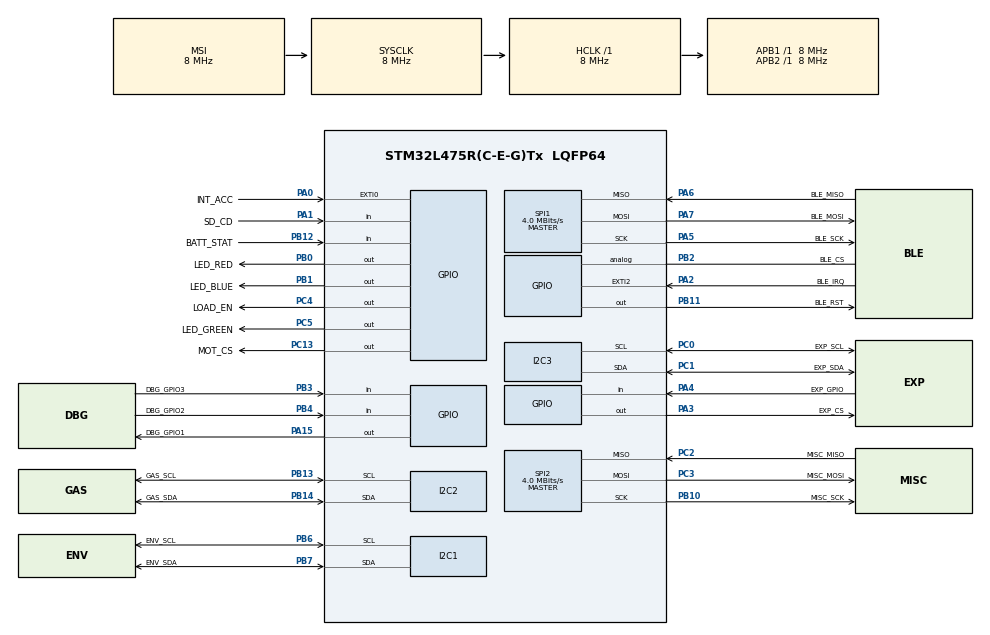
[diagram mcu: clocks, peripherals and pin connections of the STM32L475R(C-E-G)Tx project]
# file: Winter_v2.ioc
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I2C1.Timing=0x2000090E
I2C2.Timing=0x2000090E
I2C3.Timing=0x2000090E
Mcu.Family=STM32L4
Mcu.Name=STM32L475R(C-E-G)Tx
Mcu.Package=LQFP64
NVIC.EXTI0_IRQn=true\:3\:0\:true\:false\:true\:true\:true
NVIC.EXTI2_IRQn=true\:3\:0\:true\:false\:true\:true\:true
NVIC.PriorityGroup=NVIC_PRIORITYGROUP_4
NVIC.RTC_WKUP_IRQn=true\:0\:0\:false\:false\:true\:true\:true
PA0.GPIO_Label=INT_ACC
PA0.Signal=GPXTI0
PA1.GPIO_Label=SD_CD
PA1.GPIO_PuPd=GPIO_PULLUP
PA1.Signal=GPIO_Input
PA13\ (JTMS-SWDIO).Mode=Serial_Wire
PA13\ (JTMS-SWDIO).Signal=SYS_JTMS-SWDIO
PA14\ (JTCK-SWCLK).Mode=Serial_Wire
PA14\ (JTCK-SWCLK).Signal=SYS_JTCK-SWCLK
PA15\ (JTDI).GPIO_Label=DBG_GPIO1
PA15\ (JTDI).Signal=GPIO_Output
PA2.GPIO_Label=BLE_IRQ
PA2.GPIO_PuPd=GPIO_NOPULL
PA2.Signal=GPXTI2
PA3.GPIO_Label=EXP_CS
PA3.GPIO_PuPd=GPIO_PULLUP
PA3.PinState=GPIO_PIN_SET
PA3.Signal=GPIO_Output
PA4.GPIO_Label=EXP_GPIO
PA4.Signal=GPIO_Input
PA5.GPIO_Label=BLE_SCK
PA5.Mode=Full_Duplex_Master
PA5.Signal=SPI1_SCK
PA6.GPIO_Label=BLE_MISO
PA6.Mode=Full_Duplex_Master
PA6.Signal=SPI1_MISO
PA7.GPIO_Label=BLE_MOSI
PA7.Mode=Full_Duplex_Master
PA7.Signal=SPI1_MOSI
PB0.GPIO_Label=LED_RED
PB0.Signal=GPIO_Output
PB1.GPIO_Label=LED_BLUE
PB1.Signal=GPIO_Output
PB10.GPIO_Label=MISC_SCK
PB10.Mode=Full_Duplex_Master
PB10.Signal=SPI2_SCK
PB11.GPIO_Label=BLE_RST
PB11.PinState=GPIO_PIN_RESET
PB11.Signal=GPIO_Output
PB12.GPIO_Label=BATT_STAT
PB12.Signal=GPIO_Input
PB13.GPIO_Label=GAS_SCL
PB13.Mode=I2C
PB13.Signal=I2C2_SCL
PB14.GPIO_Label=GAS_SDA
PB14.Mode=I2C
PB14.Signal=I2C2_SDA
PB2.GPIO_Label=BLE_CS
PB2.Signal=GPIO_Analog
PB3\ (JTDO-TRACESWO).GPIO_Label=DBG_GPIO3
PB3\ (JTDO-TRACESWO).Signal=GPIO_Input
PB4\ (NJTRST).GPIO_Label=DBG_GPIO2
PB4\ (NJTRST).Signal=GPIO_Input
PB6.GPIO_Label=ENV_SCL
PB6.Mode=I2C
PB6.Signal=I2C1_SCL
PB7.GPIO_Label=ENV_SDA
PB7.Mode=I2C
PB7.Signal=I2C1_SDA
PC0.GPIO_Label=EXP_SCL
PC0.Mode=I2C
PC0.Signal=I2C3_SCL
PC1.GPIO_Label=EXP_SDA
PC1.Mode=I2C
PC1.Signal=I2C3_SDA
PC13.GPIO_Label=MOT_CS
PC13.GPIO_PuPd=GPIO_PULLUP
PC13.PinState=GPIO_PIN_SET
PC13.Signal=GPIO_Output
PC14-OSC32_IN\ (PC14).Mode=LSE-External-Oscillator
PC14-OSC32_IN\ (PC14).Signal=RCC_OSC32_IN
PC15-OSC32_OUT\ (PC15).Mode=LSE-External-Oscillator
PC15-OSC32_OUT\ (PC15).Signal=RCC_OSC32_OUT
PC2.GPIO_Label=MISC_MISO
PC2.Mode=Full_Duplex_Master
PC2.Signal=SPI2_MISO
PC3.GPIO_Label=MISC_MOSI
PC3.Mode=Full_Duplex_Master
PC3.Signal=SPI2_MOSI
PC4.GPIO_Label=LOAD_EN
PC4.Signal=GPIO_Output
PC5.GPIO_Label=LED_GREEN
PC5.Signal=GPIO_Output
ProjectManager.HeapSize=0x200
ProjectManager.StackSize=0x400
ProjectManager.TargetToolchain=STM32CubeIDE
RCC.ADCFreq_Value=96000000
RCC.AHBFreq_Value=8000000
RCC.APB1Freq_Value=8000000
RCC.APB1TimFreq_Value=8000000
RCC.APB2Freq_Value=8000000
RCC.APB2TimFreq_Value=8000000
RCC.CK48CLockSelection=RCC_USBCLKSOURCE_MSI
RCC.CortexFreq_Value=8000000
RCC.HCLKFreq_Value=8000000
RCC.HSE_VALUE=8000000
RCC.HSI_VALUE=16000000
RCC.I2C1CLockSelection=RCC_I2C1CLKSOURCE_SYSCLK
RCC.I2C2CLockSelection=RCC_I2C2CLKSOURCE_SYSCLK
RCC.I2C3CLockSelection=RCC_I2C3CLKSOURCE_SYSCLK
RCC.LPTIM1CLockSelection=RCC_LPTIM1CLKSOURCE_LSE
RCC.MSIClockRange=RCC_MSIRANGE_7
RCC.MSI_VALUE=8000000
RCC.PLLSAI1N=24
RCC.RTCClockSelection=RCC_RTCCLKSOURCE_LSE
RCC.SYSCLKFreq_VALUE=8000000
RCC.USART1CLockSelection=RCC_USART1CLKSOURCE_HSI
RCC.USBFreq_Value=8000000
RCC.VCOOutputFreq_Value=64000000
RTC.WakeUpClock-WakeUp=RTC_WAKEUPCLOCK_CK_SPRE_16BITS
RTC.WakeUpCounter-WakeUp=120
RTC.Year=0
SPI1.BaudRatePrescaler=SPI_BAUDRATEPRESCALER_2
SPI1.CLKPolarity=SPI_POLARITY_LOW
SPI1.CalculateBaudRate=4.0 MBits/s
SPI1.DataSize=SPI_DATASIZE_8BIT
SPI1.Direction=SPI_DIRECTION_2LINES
SPI1.Mode=SPI_MODE_MASTER
SPI1.VirtualType=VM_MASTER
SPI2.CalculateBaudRate=4.0 MBits/s
SPI2.DataSize=SPI_DATASIZE_8BIT
SPI2.Direction=SPI_DIRECTION_2LINES
SPI2.Mode=SPI_MODE_MASTER
SPI2.VirtualType=VM_MASTER
VP_RTC_VS_RTC_Activate.Mode=RTC_Enabled
VP_RTC_VS_RTC_Calendar.Mode=RTC_Calendar
VP_RTC_VS_RTC_WakeUp_intern.Mode=WakeUp
board=custom

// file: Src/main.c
/* USER CODE BEGIN Header */
/**
 ******************************************************************************
 * @file           : main.c
 * @brief          : Main program body
 ******************************************************************************
 * @attention
 *
 * <h2><center>&copy; Copyright (c) 2020 STMicroelectronics.
 * All rights reserved.</center></h2>
 *
 * This software component is licensed by ST under BSD 3-Clause license,
 * the "License"; You may not use this file except in compliance with the
 * License. You may obtain a copy of the License at:
 *                        opensource.org/licenses/BSD-3-Clause
 *
 ******************************************************************************
 */
/* USER CODE END Header */

#include "main.h"

/* USER CODE BEGIN Includes */
#include "app.h"
/* USER CODE END Includes */

I2C_HandleTypeDef hi2c1;
I2C_HandleTypeDef hi2c2;
I2C_HandleTypeDef hi2c3;

RTC_HandleTypeDef hrtc;

SPI_HandleTypeDef hspi1;
SPI_HandleTypeDef hspi2;

void SystemClock_Config(void);
static void MX_GPIO_Init(void);
static void MX_I2C1_Init(void);
static void MX_I2C2_Init(void);
static void MX_I2C3_Init(void);
static void MX_SPI1_Init(void);
static void MX_SPI2_Init(void);
static void MX_RTC_Init(void);

/* USER CODE BEGIN 0 */
extern volatile Winter_t winter;
/* USER CODE END 0 */

int main(void)
{

  /* MCU Configuration--------------------------------------------------------*/

  /* Reset of all peripherals, Initializes the Flash interface and the Systick. */
  HAL_Init();

  /* Configure the system clock */
  SystemClock_Config();

  /* Initialize all configured peripherals */
  MX_GPIO_Init();
  MX_I2C1_Init();
  MX_I2C2_Init();
  MX_I2C3_Init();
  MX_SPI1_Init();
  MX_SPI2_Init();
  MX_RTC_Init();
  /* USER CODE BEGIN 2 */
	App_InitSystem();
  /* USER CODE END 2 */

  /* Infinite loop */
	while (1) {

    /* USER CODE BEGIN 3 */
		if (App_GetSystemState() == SYSTEM_STATE_SLEEP) {
			Enter_Stop2_Mode();
			Exit_Stop2_Mode();
		}
	}
  /* USER CODE END 3 */
}

void SystemClock_Config(void)
{
  RCC_OscInitTypeDef RCC_OscInitStruct = {0};
  RCC_ClkInitTypeDef RCC_ClkInitStruct = {0};
  RCC_PeriphCLKInitTypeDef PeriphClkInit = {0};

  /** Configure LSE Drive Capability
  */
  HAL_PWR_EnableBkUpAccess();
  __HAL_RCC_LSEDRIVE_CONFIG(RCC_LSEDRIVE_LOW);
  /** Initializes the CPU, AHB and APB busses clocks
  */
  RCC_OscInitStruct.OscillatorType = RCC_OSCILLATORTYPE_LSE|RCC_OSCILLATORTYPE_MSI;
  RCC_OscInitStruct.LSEState = RCC_LSE_ON;
  RCC_OscInitStruct.MSIState = RCC_MSI_ON;
  RCC_OscInitStruct.MSICalibrationValue = 0;
  RCC_OscInitStruct.MSIClockRange = RCC_MSIRANGE_7;
  RCC_OscInitStruct.PLL.PLLState = RCC_PLL_NONE;
  if (HAL_RCC_OscConfig(&RCC_OscInitStruct) != HAL_OK)
  {
    Error_Handler();
  }
  /** Initializes the CPU, AHB and APB busses clocks
  */
  RCC_ClkInitStruct.ClockType = RCC_CLOCKTYPE_HCLK|RCC_CLOCKTYPE_SYSCLK
                              |RCC_CLOCKTYPE_PCLK1|RCC_CLOCKTYPE_PCLK2;
  RCC_ClkInitStruct.SYSCLKSource = RCC_SYSCLKSOURCE_MSI;
  RCC_ClkInitStruct.AHBCLKDivider = RCC_SYSCLK_DIV1;
  RCC_ClkInitStruct.APB1CLKDivider = RCC_HCLK_DIV1;
  RCC_ClkInitStruct.APB2CLKDivider = RCC_HCLK_DIV1;

  if (HAL_RCC_ClockConfig(&RCC_ClkInitStruct, FLASH_LATENCY_0) != HAL_OK)
  {
    Error_Handler();
  }
  PeriphClkInit.PeriphClockSelection = RCC_PERIPHCLK_RTC|RCC_PERIPHCLK_I2C1
                              |RCC_PERIPHCLK_I2C2|RCC_PERIPHCLK_I2C3;
  PeriphClkInit.I2c1ClockSelection = RCC_I2C1CLKSOURCE_SYSCLK;
  PeriphClkInit.I2c2ClockSelection = RCC_I2C2CLKSOURCE_SYSCLK;
  PeriphClkInit.I2c3ClockSelection = RCC_I2C3CLKSOURCE_SYSCLK;
  PeriphClkInit.RTCClockSelection = RCC_RTCCLKSOURCE_LSE;
  if (HAL_RCCEx_PeriphCLKConfig(&PeriphClkInit) != HAL_OK)
  {
    Error_Handler();
  }
  /** Configure the main internal regulator output voltage
  */
  if (HAL_PWREx_ControlVoltageScaling(PWR_REGULATOR_VOLTAGE_SCALE1) != HAL_OK)
  {
    Error_Handler();
  }
  /** Enable MSI Auto calibration
  */
  HAL_RCCEx_EnableMSIPLLMode();
}

static void MX_I2C1_Init(void)
{

  hi2c1.Instance = I2C1;
  hi2c1.Init.Timing = 0x2000090E;
  hi2c1.Init.OwnAddress1 = 0;
  hi2c1.Init.AddressingMode = I2C_ADDRESSINGMODE_7BIT;
  hi2c1.Init.DualAddressMode = I2C_DUALADDRESS_DISABLE;
  hi2c1.Init.OwnAddress2 = 0;
  hi2c1.Init.OwnAddress2Masks = I2C_OA2_NOMASK;
  hi2c1.Init.GeneralCallMode = I2C_GENERALCALL_DISABLE;
  hi2c1.Init.NoStretchMode = I2C_NOSTRETCH_DISABLE;
  if (HAL_I2C_Init(&hi2c1) != HAL_OK)
  {
    Error_Handler();
  }
  /** Configure Analogue filter
  */
  if (HAL_I2CEx_ConfigAnalogFilter(&hi2c1, I2C_ANALOGFILTER_ENABLE) != HAL_OK)
  {
    Error_Handler();
  }
  /** Configure Digital filter
  */
  if (HAL_I2CEx_ConfigDigitalFilter(&hi2c1, 0) != HAL_OK)
  {
    Error_Handler();
  }

}

static void MX_I2C2_Init(void)
{

  hi2c2.Instance = I2C2;
  hi2c2.Init.Timing = 0x2000090E;
  hi2c2.Init.OwnAddress1 = 0;
  hi2c2.Init.AddressingMode = I2C_ADDRESSINGMODE_7BIT;
  hi2c2.Init.DualAddressMode = I2C_DUALADDRESS_DISABLE;
  hi2c2.Init.OwnAddress2 = 0;
  hi2c2.Init.OwnAddress2Masks = I2C_OA2_NOMASK;
  hi2c2.Init.GeneralCallMode = I2C_GENERALCALL_DISABLE;
  hi2c2.Init.NoStretchMode = I2C_NOSTRETCH_DISABLE;
  if (HAL_I2C_Init(&hi2c2) != HAL_OK)
  {
    Error_Handler();
  }
  /** Configure Analogue filter
  */
  if (HAL_I2CEx_ConfigAnalogFilter(&hi2c2, I2C_ANALOGFILTER_ENABLE) != HAL_OK)
  {
    Error_Handler();
  }
  /** Configure Digital filter
  */
  if (HAL_I2CEx_ConfigDigitalFilter(&hi2c2, 0) != HAL_OK)
  {
    Error_Handler();
  }

}

static void MX_I2C3_Init(void)
{

  hi2c3.Instance = I2C3;
  hi2c3.Init.Timing = 0x2000090E;
  hi2c3.Init.OwnAddress1 = 0;
  hi2c3.Init.AddressingMode = I2C_ADDRESSINGMODE_7BIT;
  hi2c3.Init.DualAddressMode = I2C_DUALADDRESS_DISABLE;
  hi2c3.Init.OwnAddress2 = 0;
  hi2c3.Init.OwnAddress2Masks = I2C_OA2_NOMASK;
  hi2c3.Init.GeneralCallMode = I2C_GENERALCALL_DISABLE;
  hi2c3.Init.NoStretchMode = I2C_NOSTRETCH_DISABLE;
  if (HAL_I2C_Init(&hi2c3) != HAL_OK)
  {
    Error_Handler();
  }
  /** Configure Analogue filter
  */
  if (HAL_I2CEx_ConfigAnalogFilter(&hi2c3, I2C_ANALOGFILTER_ENABLE) != HAL_OK)
  {
    Error_Handler();
  }
  /** Configure Digital filter
  */
  if (HAL_I2CEx_ConfigDigitalFilter(&hi2c3, 0) != HAL_OK)
  {
    Error_Handler();
  }

}

static void MX_RTC_Init(void)
{

  RTC_TimeTypeDef sTime = {0};
  RTC_DateTypeDef sDate = {0};

  /** Initialize RTC Only
  */
  hrtc.Instance = RTC;
  hrtc.Init.HourFormat = RTC_HOURFORMAT_24;
  hrtc.Init.AsynchPrediv = 127;
  hrtc.Init.SynchPrediv = 255;
  hrtc.Init.OutPut = RTC_OUTPUT_DISABLE;
  hrtc.Init.OutPutRemap = RTC_OUTPUT_REMAP_NONE;
  hrtc.Init.OutPutPolarity = RTC_OUTPUT_POLARITY_HIGH;
  hrtc.Init.OutPutType = RTC_OUTPUT_TYPE_OPENDRAIN;
  if (HAL_RTC_Init(&hrtc) != HAL_OK)
  {
    Error_Handler();
  }

  /** Initialize RTC and set the Time and Date
  */
  sTime.Hours = 0x0;
  sTime.Minutes = 0x0;
  sTime.Seconds = 0x0;
  sTime.DayLightSaving = RTC_DAYLIGHTSAVING_NONE;
  sTime.StoreOperation = RTC_STOREOPERATION_RESET;
  if (HAL_RTC_SetTime(&hrtc, &sTime, RTC_FORMAT_BCD) != HAL_OK)
  {
    Error_Handler();
  }
  sDate.WeekDay = RTC_WEEKDAY_MONDAY;
  sDate.Month = RTC_MONTH_JANUARY;
  sDate.Date = 0x1;
  sDate.Year = 0x0;

  if (HAL_RTC_SetDate(&hrtc, &sDate, RTC_FORMAT_BCD) != HAL_OK)
  {
    Error_Handler();
  }

}

static void MX_SPI1_Init(void)
{

  /* SPI1 parameter configuration*/
  hspi1.Instance = SPI1;
  hspi1.Init.Mode = SPI_MODE_MASTER;
  hspi1.Init.Direction = SPI_DIRECTION_2LINES;
  hspi1.Init.DataSize = SPI_DATASIZE_8BIT;
  hspi1.Init.CLKPolarity = SPI_POLARITY_LOW;
  hspi1.Init.CLKPhase = SPI_PHASE_1EDGE;
  hspi1.Init.NSS = SPI_NSS_SOFT;
  hspi1.Init.BaudRatePrescaler = SPI_BAUDRATEPRESCALER_2;
  hspi1.Init.FirstBit = SPI_FIRSTBIT_MSB;
  hspi1.Init.TIMode = SPI_TIMODE_DISABLE;
  hspi1.Init.CRCCalculation = SPI_CRCCALCULATION_DISABLE;
  hspi1.Init.CRCPolynomial = 7;
  hspi1.Init.CRCLength = SPI_CRC_LENGTH_DATASIZE;
  hspi1.Init.NSSPMode = SPI_NSS_PULSE_ENABLE;
  if (HAL_SPI_Init(&hspi1) != HAL_OK)
  {
    Error_Handler();
  }

}

static void MX_SPI2_Init(void)
{

  /* SPI2 parameter configuration*/
  hspi2.Instance = SPI2;
  hspi2.Init.Mode = SPI_MODE_MASTER;
  hspi2.Init.Direction = SPI_DIRECTION_2LINES;
  hspi2.Init.DataSize = SPI_DATASIZE_8BIT;
  hspi2.Init.CLKPolarity = SPI_POLARITY_LOW;
  hspi2.Init.CLKPhase = SPI_PHASE_1EDGE;
  hspi2.Init.NSS = SPI_NSS_SOFT;
  hspi2.Init.BaudRatePrescaler = SPI_BAUDRATEPRESCALER_2;
  hspi2.Init.FirstBit = SPI_FIRSTBIT_MSB;
  hspi2.Init.TIMode = SPI_TIMODE_DISABLE;
  hspi2.Init.CRCCalculation = SPI_CRCCALCULATION_DISABLE;
  hspi2.Init.CRCPolynomial = 7;
  hspi2.Init.CRCLength = SPI_CRC_LENGTH_DATASIZE;
  hspi2.Init.NSSPMode = SPI_NSS_PULSE_ENABLE;
  if (HAL_SPI_Init(&hspi2) != HAL_OK)
  {
    Error_Handler();
  }

}

static void MX_GPIO_Init(void)
{
  GPIO_InitTypeDef GPIO_InitStruct = {0};

  /* GPIO Ports Clock Enable */
  __HAL_RCC_GPIOC_CLK_ENABLE();
  __HAL_RCC_GPIOH_CLK_ENABLE();
  __HAL_RCC_GPIOA_CLK_ENABLE();
  __HAL_RCC_GPIOB_CLK_ENABLE();
  __HAL_RCC_GPIOD_CLK_ENABLE();

  /*Configure GPIO pin Output Level */
  HAL_GPIO_WritePin(MOT_CS_GPIO_Port, MOT_CS_Pin, GPIO_PIN_SET);

  /*Configure GPIO pin Output Level */
  HAL_GPIO_WritePin(EXP_CS_GPIO_Port, EXP_CS_Pin, GPIO_PIN_SET);

  /*Configure GPIO pin Output Level */
  HAL_GPIO_WritePin(GPIOC, LOAD_EN_Pin|LED_GREEN_Pin, GPIO_PIN_RESET);

  /*Configure GPIO pin Output Level */
  HAL_GPIO_WritePin(GPIOB, LED_RED_Pin|LED_BLUE_Pin|BLE_RST_Pin, GPIO_PIN_RESET);

  /*Configure GPIO pin Output Level */
  HAL_GPIO_WritePin(DBG_GPIO1_GPIO_Port, DBG_GPIO1_Pin, GPIO_PIN_RESET);

  /*Configure GPIO pin : MOT_CS_Pin */
  GPIO_InitStruct.Pin = MOT_CS_Pin;
  GPIO_InitStruct.Mode = GPIO_MODE_OUTPUT_PP;
  GPIO_InitStruct.Pull = GPIO_PULLUP;
  GPIO_InitStruct.Speed = GPIO_SPEED_FREQ_LOW;
  HAL_GPIO_Init(MOT_CS_GPIO_Port, &GPIO_InitStruct);

  /*Configure GPIO pins : PH0 PH1 */
  GPIO_InitStruct.Pin = GPIO_PIN_0|GPIO_PIN_1;
  GPIO_InitStruct.Mode = GPIO_MODE_ANALOG;
  GPIO_InitStruct.Pull = GPIO_NOPULL;
  HAL_GPIO_Init(GPIOH, &GPIO_InitStruct);

  /*Configure GPIO pins : INT_ACC_Pin BLE_IRQ_Pin */
  GPIO_InitStruct.Pin = INT_ACC_Pin|BLE_IRQ_Pin;
  GPIO_InitStruct.Mode = GPIO_MODE_IT_RISING;
  GPIO_InitStruct.Pull = GPIO_NOPULL;
  HAL_GPIO_Init(GPIOA, &GPIO_InitStruct);

  /*Configure GPIO pin : SD_CD_Pin */
  GPIO_InitStruct.Pin = SD_CD_Pin;
  GPIO_InitStruct.Mode = GPIO_MODE_INPUT;
  GPIO_InitStruct.Pull = GPIO_PULLUP;
  HAL_GPIO_Init(SD_CD_GPIO_Port, &GPIO_InitStruct);

  /*Configure GPIO pin : EXP_CS_Pin */
  GPIO_InitStruct.Pin = EXP_CS_Pin;
  GPIO_InitStruct.Mode = GPIO_MODE_OUTPUT_PP;
  GPIO_InitStruct.Pull = GPIO_PULLUP;
  GPIO_InitStruct.Speed = GPIO_SPEED_FREQ_LOW;
  HAL_GPIO_Init(EXP_CS_GPIO_Port, &GPIO_InitStruct);

  /*Configure GPIO pin : EXP_GPIO_Pin */
  GPIO_InitStruct.Pin = EXP_GPIO_Pin;
  GPIO_InitStruct.Mode = GPIO_MODE_INPUT;
  GPIO_InitStruct.Pull = GPIO_NOPULL;
  HAL_GPIO_Init(EXP_GPIO_GPIO_Port, &GPIO_InitStruct);

  /*Configure GPIO pins : LOAD_EN_Pin LED_GREEN_Pin */
  GPIO_InitStruct.Pin = LOAD_EN_Pin|LED_GREEN_Pin;
  GPIO_InitStruct.Mode = GPIO_MODE_OUTPUT_PP;
  GPIO_InitStruct.Pull = GPIO_NOPULL;
  GPIO_InitStruct.Speed = GPIO_SPEED_FREQ_LOW;
  HAL_GPIO_Init(GPIOC, &GPIO_InitStruct);

  /*Configure GPIO pins : LED_RED_Pin LED_BLUE_Pin BLE_RST_Pin */
  GPIO_InitStruct.Pin = LED_RED_Pin|LED_BLUE_Pin|BLE_RST_Pin;
  GPIO_InitStruct.Mode = GPIO_MODE_OUTPUT_PP;
  GPIO_InitStruct.Pull = GPIO_NOPULL;
  GPIO_InitStruct.Speed = GPIO_SPEED_FREQ_LOW;
  HAL_GPIO_Init(GPIOB, &GPIO_InitStruct);

  /*Configure GPIO pins : BLE_CS_Pin PB15 PB5 PB8
                           PB9 */
  GPIO_InitStruct.Pin = BLE_CS_Pin|GPIO_PIN_15|GPIO_PIN_5|GPIO_PIN_8
                          |GPIO_PIN_9;
  GPIO_InitStruct.Mode = GPIO_MODE_ANALOG;
  GPIO_InitStruct.Pull = GPIO_NOPULL;
  HAL_GPIO_Init(GPIOB, &GPIO_InitStruct);

  /*Configure GPIO pins : BATT_STAT_Pin DBG_GPIO3_Pin DBG_GPIO2_Pin */
  GPIO_InitStruct.Pin = BATT_STAT_Pin|DBG_GPIO3_Pin|DBG_GPIO2_Pin;
  GPIO_InitStruct.Mode = GPIO_MODE_INPUT;
  GPIO_InitStruct.Pull = GPIO_NOPULL;
  HAL_GPIO_Init(GPIOB, &GPIO_InitStruct);

  /*Configure GPIO pins : PC6 PC7 PC8 PC9
                           PC10 PC11 PC12 */
  GPIO_InitStruct.Pin = GPIO_PIN_6|GPIO_PIN_7|GPIO_PIN_8|GPIO_PIN_9
                          |GPIO_PIN_10|GPIO_PIN_11|GPIO_PIN_12;
  GPIO_InitStruct.Mode = GPIO_MODE_ANALOG;
  GPIO_InitStruct.Pull = GPIO_NOPULL;
  HAL_GPIO_Init(GPIOC, &GPIO_InitStruct);

  /*Configure GPIO pins : PA8 PA9 PA10 PA11
                           PA12 */
  GPIO_InitStruct.Pin = GPIO_PIN_8|GPIO_PIN_9|GPIO_PIN_10|GPIO_PIN_11
                          |GPIO_PIN_12;
  GPIO_InitStruct.Mode = GPIO_MODE_ANALOG;
  GPIO_InitStruct.Pull = GPIO_NOPULL;
  HAL_GPIO_Init(GPIOA, &GPIO_InitStruct);

  /*Configure GPIO pin : DBG_GPIO1_Pin */
  GPIO_InitStruct.Pin = DBG_GPIO1_Pin;
  GPIO_InitStruct.Mode = GPIO_MODE_OUTPUT_PP;
  GPIO_InitStruct.Pull = GPIO_NOPULL;
  GPIO_InitStruct.Speed = GPIO_SPEED_FREQ_LOW;
  HAL_GPIO_Init(DBG_GPIO1_GPIO_Port, &GPIO_InitStruct);

  /*Configure GPIO pin : PD2 */
  GPIO_InitStruct.Pin = GPIO_PIN_2;
  GPIO_InitStruct.Mode = GPIO_MODE_ANALOG;
  GPIO_InitStruct.Pull = GPIO_NOPULL;
  HAL_GPIO_Init(GPIOD, &GPIO_InitStruct);

  /* EXTI interrupt init*/
  HAL_NVIC_SetPriority(EXTI0_IRQn, 3, 0);
  HAL_NVIC_EnableIRQ(EXTI0_IRQn);

  HAL_NVIC_SetPriority(EXTI2_IRQn, 3, 0);
  HAL_NVIC_EnableIRQ(EXTI2_IRQn);

}

/* USER CODE BEGIN 4 */
/**
 * @brief  Write an amount of data in the specified device and register, in
 * 		   blocking mode.
 * @param  i2c        I2C_e enumeration value.
 * @param  DevAddress Target device address.
 * @param  pData 	  Pointer to data buffer.
 * @param  Size 	  Amount of data to be sent.
 * @return HAL status.
 */
uint8_t I2C_Write(I2C_e i2c, uint8_t DevAddress, uint8_t* pData, uint8_t Size) {
	HAL_StatusTypeDef res = HAL_OK;

	switch (i2c) {
		case I2C_ENV:
			res |= HAL_I2C_Master_Transmit(&hi2c1, DevAddress, pData, Size,
					100);
			break;
		case I2C_GAS:
			res |= HAL_I2C_Master_Transmit(&hi2c2, DevAddress, pData, Size,
					100);
			break;
		case I2C_EXP:
			res |= HAL_I2C_Master_Transmit(&hi2c3, DevAddress, pData, Size,
					100);
			break;
		default:
			break;
	}

	return res;
}

/**
 * @brief  Read an amount of data from the specified device and register, in
 * 		   blocking mode.
 * @param  i2c        I2C_e enumeration value.
 * @param  DevAddress Target device address.
 * @param  RegAddress Target register address.
 * @param  pData 	  Pointer to data buffer.
 * @param  Size 	  Amount of data to be sent.
 * @return HAL status.
 */
uint8_t I2C_Read(I2C_e i2c, uint8_t DevAddress, uint8_t RegAddress,
		uint8_t* pData, uint16_t Size) {
	HAL_StatusTypeDef res = HAL_OK;

	switch (i2c) {
		case I2C_ENV:
			res |= HAL_I2C_Master_Transmit(&hi2c1, DevAddress, &RegAddress, 1,
					100);
			if (res == HAL_OK)
				res |= HAL_I2C_Master_Receive(&hi2c1, DevAddress, pData, Size,
						100);
			break;
		case I2C_GAS:
			res |= HAL_I2C_Master_Transmit(&hi2c2, DevAddress, &RegAddress, 1,
					100);
			if (res == HAL_OK)
				res |= HAL_I2C_Master_Receive(&hi2c2, DevAddress, pData, Size,
						100);
			break;
		case I2C_EXP:
			res |= HAL_I2C_Master_Transmit(&hi2c3, DevAddress, &RegAddress, 1,
					100);
			if (res == HAL_OK)
				res |= HAL_I2C_Master_Receive(&hi2c3, DevAddress, pData, Size,
						100);
			break;
		default:
			res = HAL_ERROR;
			break;
	}

	return res;
}

/**
 * @brief  Write an amount of data in the specified device, in blocking mode.
 * @param  spi   SPI_e enumeration value.
 * @param  pData Pointer to data buffer.
 * @param  Size  Amount of data to be sent.
 * @return HAL status.
 */
uint8_t SPI_Write(SPI_e spi, uint8_t* pData, uint16_t Size) {
	HAL_StatusTypeDef res = HAL_OK;

	switch (spi) {
		case SPI_BLE:
			break;
		case SPI_MOTION:
			HAL_GPIO_WritePin(MOT_CS_GPIO_Port, MOT_CS_Pin, GPIO_PIN_RESET);
			res |= HAL_SPI_Transmit(&hspi2, pData, Size, 100);
			HAL_GPIO_WritePin(MOT_CS_GPIO_Port, MOT_CS_Pin, GPIO_PIN_SET);
			break;
		case SPI_EXP:
			HAL_GPIO_WritePin(EXP_CS_GPIO_Port, EXP_CS_Pin, GPIO_PIN_RESET);
			res |= HAL_SPI_Transmit(&hspi2, pData, Size, 100);
			HAL_GPIO_WritePin(EXP_CS_GPIO_Port, EXP_CS_Pin, GPIO_PIN_SET);
		default:
			res = HAL_ERROR;
			break;
	}

	return res;
}

/**
 * @brief  Read an amount of data in the specified device, in blocking mode.
 * @param  spi        SPI_e enumeration value.
 * @param  RegAddress Target register address.
 * @param  pData      Pointer to data buffer.
 * @param  Size       Amount of data to be sent.
 * @return HAL status.
 */
uint8_t SPI_Read(SPI_e spi, uint8_t RegAddress, uint8_t* pData, uint16_t Size) {
	HAL_StatusTypeDef res = HAL_OK;

	switch (spi) {
		case SPI_BLE:
			break;
		case SPI_MOTION:
			HAL_GPIO_WritePin(MOT_CS_GPIO_Port, MOT_CS_Pin, GPIO_PIN_RESET);
			pData[0] = 0;
			res |= HAL_SPI_Transmit(&hspi2, &RegAddress, 1, 100);
			res |= HAL_SPI_Receive(&hspi2, pData, Size, 100);
			HAL_GPIO_WritePin(MOT_CS_GPIO_Port, MOT_CS_Pin, GPIO_PIN_SET);
			break;
		case SPI_EXP:
			HAL_GPIO_WritePin(EXP_CS_GPIO_Port, EXP_CS_Pin, GPIO_PIN_RESET);
			res |= HAL_SPI_Transmit(&hspi2, &RegAddress, 1, 100);
			res |= HAL_SPI_Receive(&hspi2, pData, Size, 100);
			HAL_GPIO_WritePin(EXP_CS_GPIO_Port, EXP_CS_Pin, GPIO_PIN_SET);
			break;
		default:
			res = HAL_ERROR;
			break;
	}

	return res;
}

void Enable_LPR_Mode(void) {

	/* *** Low-power run mode ***
	 * ==========================
	 *    [..]
	 *       (+) Entry: (from main run mode)
	 *          (++) set LPR bit with HAL_PWREx_EnableLowPowerRunMode() API
	 *               after having decreased the system clock below 2 MHz.
	 */

	RCC_OscInitTypeDef RCC_OscInitStruct = { 0 };
//	RCC_ClkInitTypeDef RCC_ClkInitStruct = { 0 };

//	/** Adjust divider for SD card interface and re-initialize it
//	 */
//	FRESULT result;
//	result = f_mount(0, SDPath, 1);				// un-mount
//	hsd1.Init.ClockDiv = 0;
//	result |= f_mount(&FatFsDisk, SDPath, 1);	// mount again
//	if (result != FR_OK) {
//		Error_Handler();
//	}

	/** Initializes the CPU, AHB and APB busses clocks
	 */
	RCC_OscInitStruct.OscillatorType = RCC_OSCILLATORTYPE_MSI;
	RCC_OscInitStruct.MSIState = RCC_MSI_ON;
	RCC_OscInitStruct.MSICalibrationValue = 0;
	RCC_OscInitStruct.MSIClockRange = RCC_MSIRANGE_4;
	RCC_OscInitStruct.PLL.PLLState = RCC_PLL_NONE;
	if (HAL_RCC_OscConfig(&RCC_OscInitStruct) != HAL_OK) {
		Error_Handler();
	}

//	/** Initializes the CPU, AHB and APB busses clocks
//	 */
//	RCC_ClkInitStruct.ClockType = RCC_CLOCKTYPE_HCLK; // | RCC_CLOCKTYPE_SYSCLK;
//	RCC_ClkInitStruct.SYSCLKSource = RCC_SYSCLKSOURCE_MSI;
//	RCC_ClkInitStruct.AHBCLKDivider = RCC_SYSCLK_DIV8;
//	if (HAL_RCC_ClockConfig(&RCC_ClkInitStruct, FLASH_LATENCY_0) != HAL_OK) {
//		Error_Handler();
//	}

//	/** Disable HSI to reduce power consumption
//	 */
//	__HAL_RCC_HSI_DISABLE();

	/** Enter the Low Power Run Mode
	 */
	HAL_PWREx_EnableLowPowerRunMode();

	// Set the LP Mode flag
	winter.lprEnabled = 1;
}

void Disable_LPR_Mode(void) {

	/* *** Low-power run mode ***
	 * ==========================
	 * 	  [..]
	 * 	     (+) Exit:
	 * 	        (++) clear LPR bit then wait for REGLP bit to be reset with
	 * 	        	 HAL_PWREx_DisableLowPowerRunMode() API. Only then can the
	 * 	        	 system clock frequency be increased above 2 MHz.
	 */

	RCC_OscInitTypeDef RCC_OscInitStruct = { 0 };
//	RCC_ClkInitTypeDef RCC_ClkInitStruct = { 0 };

	/** Exit the Low Power Run Mode
	 */
	HAL_PWREx_DisableLowPowerRunMode();

//	/** Enable HSI
//	 */
//	__HAL_RCC_HSI_ENABLE();

	/** Initializes the CPU, AHB and APB busses clocks
	 */
	RCC_OscInitStruct.OscillatorType = RCC_OSCILLATORTYPE_MSI;
	RCC_OscInitStruct.MSIState = RCC_MSI_ON;
	RCC_OscInitStruct.MSICalibrationValue = 0;
	RCC_OscInitStruct.MSIClockRange = RCC_MSIRANGE_7;
	RCC_OscInitStruct.PLL.PLLState = RCC_PLL_NONE;
	if (HAL_RCC_OscConfig(&RCC_OscInitStruct) != HAL_OK) {
		Error_Handler();
	}

//	/** Initializes the CPU, AHB and APB busses clocks
//	 */
//	RCC_ClkInitStruct.ClockType = RCC_CLOCKTYPE_SYSCLK | RCC_CLOCKTYPE_HCLK;
//	RCC_ClkInitStruct.SYSCLKSource = RCC_SYSCLKSOURCE_HSI;
//	RCC_ClkInitStruct.AHBCLKDivider = RCC_SYSCLK_DIV1;
//	if (HAL_RCC_ClockConfig(&RCC_ClkInitStruct, FLASH_LATENCY_0) != HAL_OK) {
//		Error_Handler();
//	}

//	/** Re-initialize the SD card interface
//	 */
//	FRESULT result;
//	result = f_mount(0, SDPath, 1);				// un-mount
//	result |= f_mount(&FatFsDisk, SDPath, 1);	// mount again
//	if (result != FR_OK) {
//		Error_Handler();
//	}

// Reset the LP Mode flag
	winter.lprEnabled = 0;
}

void GPIO_Deinit(void) {
	GPIO_InitTypeDef GPIO_InitStruct = { 0 };

	/* EXTI interrupt deinit*/
	HAL_NVIC_DisableIRQ(EXTI2_IRQn);

	/*Configure GPIO pins : PA1 PA2 PA3 PA4 PA15 */
	GPIO_InitStruct.Pin = SD_CD_Pin | BLE_IRQ_Pin | EXP_CS_Pin | EXP_GPIO_Pin
			| DBG_GPIO1_Pin;
	GPIO_InitStruct.Mode = GPIO_MODE_ANALOG;
	GPIO_InitStruct.Pull = GPIO_NOPULL;
	HAL_GPIO_Init(GPIOA, &GPIO_InitStruct);

	/*Configure GPIO pins : PB0 PB1 PB2 PB3 PB4 PB11 PB12 */
	GPIO_InitStruct.Pin = LED_RED_Pin | LED_BLUE_Pin | BLE_CS_Pin
			| DBG_GPIO3_Pin | DBG_GPIO2_Pin | BLE_RST_Pin | BATT_STAT_Pin;
	GPIO_InitStruct.Mode = GPIO_MODE_ANALOG;
	GPIO_InitStruct.Pull = GPIO_NOPULL;
	HAL_GPIO_Init(GPIOB, &GPIO_InitStruct);

	/*Configure GPIO pins : PC4 PC5 PC8 PC9 PC10 PC11 PC12 PC13 */
	GPIO_InitStruct.Pin = LOAD_EN_Pin | LED_GREEN_Pin | MOT_CS_Pin;
	GPIO_InitStruct.Mode = GPIO_MODE_ANALOG;
	GPIO_InitStruct.Pull = GPIO_NOPULL;
	HAL_GPIO_Init(GPIOC, &GPIO_InitStruct);

	/*Configure GPIO pins : PD2 */
	//GPIO_InitStruct.Pin = SD_CMD_Pin;
	GPIO_InitStruct.Mode = GPIO_MODE_ANALOG;
	GPIO_InitStruct.Pull = GPIO_NOPULL;
	HAL_GPIO_Init(GPIOD, &GPIO_InitStruct);

	// Set SDA and SCL pins of I2C1 e I2C2 to PUSH PULL with HIGH level
	// (alternatively, OPEN DRAIN with PULL-UP)
	/*Configure GPIO pins : PD2 */
	HAL_GPIO_WritePin(GPIOB,
			ENV_SCL_Pin | ENV_SDA_Pin | GAS_SCL_Pin | GAS_SDA_Pin,
			GPIO_PIN_SET);
	GPIO_InitStruct.Pin = ENV_SCL_Pin | ENV_SDA_Pin | GAS_SCL_Pin | GAS_SDA_Pin;
	GPIO_InitStruct.Mode = GPIO_MODE_OUTPUT_PP;
	GPIO_InitStruct.Pull = GPIO_NOPULL;
	HAL_GPIO_Init(GPIOB, &GPIO_InitStruct);

	/* GPIO Ports Clock Enable */
	__HAL_RCC_GPIOA_CLK_DISABLE();
	__HAL_RCC_GPIOB_CLK_DISABLE();
	__HAL_RCC_GPIOC_CLK_DISABLE();
	__HAL_RCC_GPIOD_CLK_DISABLE();
	__HAL_RCC_GPIOH_CLK_DISABLE();
}

void Enter_Stop2_Mode(void) {
	/*
	 * *** Stop 2 mode ***
	 * ==========================
	 * Stop 2 mode can only be entered from Run mode. It is not
	 * possible to enter Stop 2 mode from the Low-power run mode.
	 */

	// Check the current LPR state
	if (winter.lprEnabled) Disable_LPR_Mode();

	// Deinitialize external peripherals and user-defined IRQs
	App_DeinitPeripherals();
	HAL_NVIC_DisableIRQ(BLE_JOB_IRQn);
	HAL_NVIC_DisableIRQ(JOB_IRQn);

	// Deinitialize internal peripherals
	HAL_I2C_DeInit(&hi2c1);
	HAL_I2C_DeInit(&hi2c2);
	HAL_I2C_DeInit(&hi2c3);
	HAL_SPI_DeInit(&hspi1);

	// Deinitialize the SD card and the related GPIOs
	//FATFS_UnLinkDriver(SDPath);		// equivalent to a MX_FATFS_Deinit() call
	//HAL_SD_DeInit(&hsd1);

	// Disable VCC
	IO_Enable_VCC(GPIO_PIN_RESET);

	// Set to analog all the GPIOs
	GPIO_Deinit();

	// Configure the clock source used after wake up from stop
	__HAL_RCC_WAKEUPSTOP_CLK_CONFIG(RCC_STOP_WAKEUPCLOCK_MSI);

	// Finally, suspend the SysTick to prevent its interrupts
	HAL_SuspendTick();

	// Define Wake-up with RTC

	// With clock DIV16 -> frequency wake up clock is 32768/16 = 2048 Hz
	// Note: DO NOT EXCEED FFFF value!!!
	// HAL_RTCEx_SetWakeUpTimer_IT(&hrtc, 0xFFFF, RTC_WAKEUPCLOCK_RTCCLK_DIV16);

	// With ck_spre -> frequency wake up clock is 1 Hz
	// Note: DO NOT EXCEED FFFF value!!!
	HAL_RTCEx_SetWakeUpTimer_IT(&hrtc, WAKEUP_COUNTER, RTC_WAKEUPCLOCK_CK_SPRE_16BITS);

	// Enter Stop 2 Mode
	HAL_PWREx_EnterSTOP2Mode(PWR_STOPENTRY_WFI);
}

void Exit_Stop2_Mode(void) {
	// First, re-configure the system clock
	SystemClock_Config();

	// Resume the SysTick
	HAL_ResumeTick();

	// Re-initialize internal peripherals
	MX_GPIO_Init();
	MX_I2C1_Init();
	MX_I2C2_Init();
	MX_I2C3_Init();
	//MX_SDMMC1_SD_Init();
	MX_SPI1_Init();
	MX_SPI2_Init();
	//MX_FATFS_Init();

	//TODO Check the SD card since it wasn't working at this point
	//f_mount(&FatFsDisk, SDPath, 1);

	// Finally, re-initialize the system
	//TODO Maybe ->IDLE? Then, explicitly resume the LPR mode and BLE_Init()
	App_InitSystem();
}

/* USER CODE END 4 */

void Error_Handler(void)
{
  /* USER CODE BEGIN Error_Handler_Debug */
	/* User can add his own implementation to report the HAL error return state */
	// Suspend tick
	HAL_SuspendTick();

	// Turn ON red LED
	IO_ResetLED(LED_GREEN | LED_BLUE);
	IO_SetLED(LED_RED);

	while (1) {
	}
  /* USER CODE END Error_Handler_Debug */
}

/************************ (C) COPYRIGHT STMicroelectronics *****END OF FILE****/
